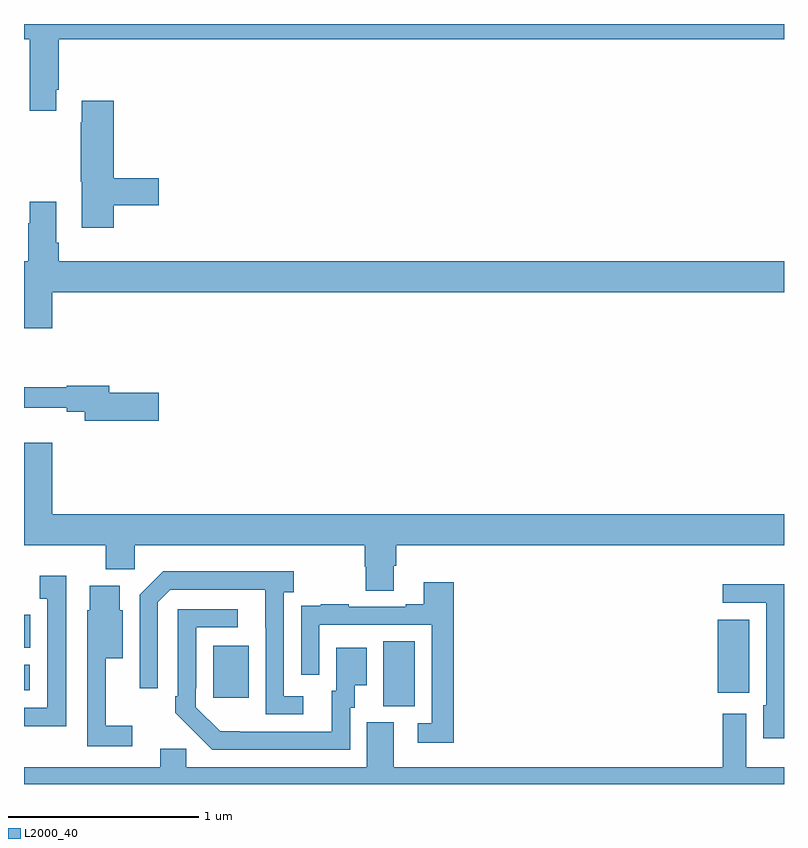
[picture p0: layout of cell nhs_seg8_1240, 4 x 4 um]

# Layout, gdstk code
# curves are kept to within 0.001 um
import gdstk
lib = gdstk.Library(unit=1e-6, precision=1e-09)
def R(c, l, rs):  # rectangles x0, y0, x1, y1
    for r in rs: c.add(gdstk.rectangle(r[:2], r[2:], *l))
def P(c, l, *ps):  # polygons
    for p in ps: c.add(gdstk.Polygon(p, *l))
L2000_40 = (2000, 40)

nhs_seg8_1240 = lib.new_cell('nhs_seg8_1240')
R(nhs_seg8_1240, L2000_40, [(190.892,1126.309,191.056,1126.652), (189.995,1126.353,190.183,1126.627), (192.65,1126.379,192.817,1126.765), (189,1126.394,189.031,1126.528), (189,1126.616,189.034,1126.792)])
P(nhs_seg8_1240, L2000_40, [(189,1129.82),(189.029,1129.82),(189.029,1129.443),(189.169,1129.443),(189.169,1129.555),(189.182,1129.555),(189.182,1129.82),(193,1129.82),(193,1129.9),(189,1129.9)],
  [(189.473,1128.946),(189.709,1128.946),(189.709,1129.088),(189.473,1129.088),(189.473,1129.495),(189.305,1129.495),(189.305,1129.382),(189.298,1129.382),(189.298,1129.071),(189.305,1129.071),(189.305,1128.828),(189.473,1128.828)],
  [(189.148,1128.488),(193,1128.488),(193,1128.652),(189.182,1128.652),(189.182,1128.748),(189.169,1128.748),(189.169,1128.964),(189.029,1128.964),(189.029,1128.851),(189.022,1128.851),(189.022,1128.652),(189,1128.652),(189,1128.3),(189.148,1128.3)],
  [(189.709,1127.96),(189.448,1127.96),(189.448,1127.996),(189.224,1127.996),(189.224,1127.989),(189,1127.989),(189,1127.879),(189.224,1127.879),(189.224,1127.86),(189.32,1127.86),(189.32,1127.813),(189.709,1127.813)],
  [(190.945,1127.05),(190.958,1127.05),(190.958,1127.156),(193,1127.156),(193,1127.32),(189.148,1127.32),(189.148,1127.695),(189,1127.695),(189,1127.156),(189.431,1127.156),(189.431,1127.029),(189.582,1127.029),(189.582,1127.156),(190.793,1127.156),(190.793,1127.043),(190.798,1127.043),(190.798,1126.918),(190.945,1126.918)],
  [(190.471,1126.362),(190.368,1126.362),(190.368,1126.91),(190.42,1126.91),(190.42,1127.02),(189.732,1127.02),(189.609,1126.897),(189.609,1126.404),(189.705,1126.404),(189.705,1126.857),(189.771,1126.923),(190.271,1126.923),(190.272,1126.266),(190.471,1126.266)],
  [(189.223,1126.996),(189.083,1126.996),(189.083,1126.875),(189.122,1126.875),(189.122,1126.302),(189,1126.302),(189,1126.205),(189.223,1126.205)],
  [(191.261,1126.963),(191.105,1126.963),(191.105,1126.846),(191.009,1126.846),(191.009,1126.833),(190.709,1126.833),(190.709,1126.846),(190.561,1126.846),(190.561,1126.839),(190.459,1126.839),(190.459,1126.73),(190.458,1126.73),(190.458,1126.476),(190.554,1126.476),(190.554,1126.737),(191.145,1126.737),(191.145,1126.221),(191.073,1126.221),(191.073,1126.116),(191.261,1126.116)],
  [(193,1126.952),(192.678,1126.952),(192.678,1126.854),(192.906,1126.854),(192.906,1126.314),(192.89,1126.314),(192.89,1126.142),(193,1126.142)],
  [(189.571,1126.207),(189.431,1126.207),(189.431,1126.562),(189.52,1126.562),(189.52,1126.815),(189.505,1126.815),(189.505,1126.944),(189.347,1126.944),(189.347,1126.815),(189.333,1126.815),(189.333,1126.098),(189.571,1126.098)],
  [(190.716,1126.302),(190.741,1126.302),(190.741,1126.421),(190.804,1126.421),(190.804,1126.618),(190.643,1126.618),(190.643,1126.392),(190.619,1126.392),(190.619,1126.176),(190.032,1126.177),(189.903,1126.305),(189.903,1126.405),(189.906,1126.405),(189.906,1126.725),(190.126,1126.725),(190.126,1126.821),(189.81,1126.821),(189.81,1126.363),(189.795,1126.363),(189.795,1126.275),(189.992,1126.08),(190.716,1126.08)],
  [(189.716,1126.086),(189.716,1125.988),(189,1125.988),(189,1125.9),(193,1125.9),(193,1125.988),(192.802,1125.988),(192.802,1126.27),(192.677,1126.27),(192.677,1125.988),(190.945,1125.988),(190.945,1126.224),(190.805,1126.224),(190.805,1125.988),(189.855,1125.988),(189.855,1126.086)])

lib.write_gds('nhs_seg8_1240.gds')
